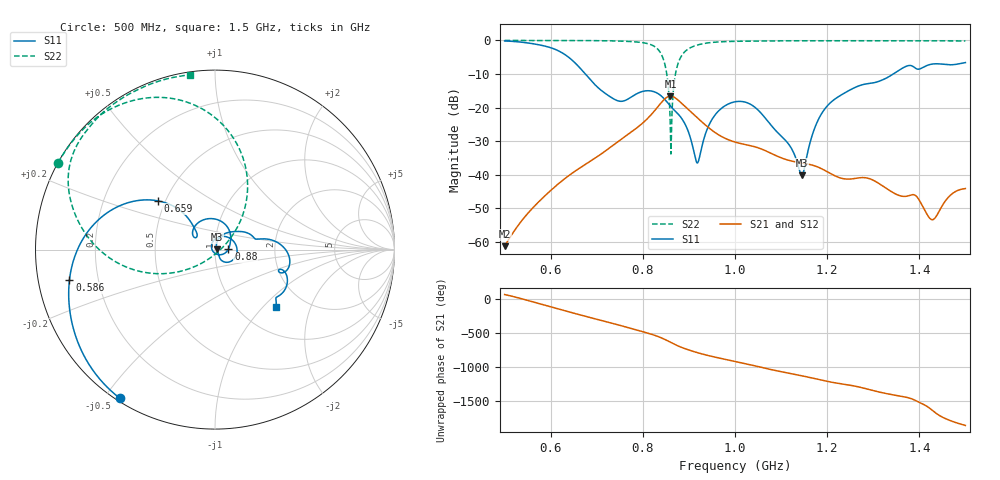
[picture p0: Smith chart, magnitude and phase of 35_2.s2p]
! TOUCHSTONE file generated by CST MICROWAVE STUDIO
! Date and time: Fri Oct  2 16:19:31 2020
! Project name: Scenario_1_Free_Space_out_of_line.cst
! Parameters = {Lambda=346.42; Step_1=17.321; dy1=-241.954; dx1=346; L_HA=400; MT=2.54; Rad_Dielectric=30; Rad_Lower=7.3; Rad_Upper=30; a_HA=580; a_WG=246; b_HA=500; b_WG=121; c_HA=0; c_WG=187; d_feed=85; h_feed=15; h_lower=18; h_upper=40}
! Header version: 2018
! Port assignment regex: !\s*Touchstone port\s*([0-9]+)\s*=\s*(CST MWS port|CST DS port)\s*([0-9]+|Zmin|Zmax)\s*\(\"(.*)\"\)(\s*mode\s*([0-9]+))?.*
! Touchstone port assignment:
! Touchstone port 1 = CST MWS port 1 ("")
! Touchstone port 2 = CST MWS port 2 ("")
# GHz S DB R 50
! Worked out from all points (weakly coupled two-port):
!   1003 points, 500 MHz to 1.5 GHz, reference 50 ohm
!   highest |S21| = -16.60 dB at 860 MHz (marker M1); lowest = -61.3 dB at 500 MHz (marker M2)
!   lowest |S11| = -40.3 dB at 1.145 GHz (marker M3), VSWR 1.02, Z = 51 + j0.225 ohm
!   |S11| at or under -10 dB: 675.1 MHz to 1.343 GHz (668.4 MHz wide, 66.2 % of centre)
!   |S22| runs from -33.9 to 0.0 dB; largest |S21 - S12| = 5.8e-06
!   S11 on the Smith chart (normalised r, x): 500 MHz: 0.01, -0.55; 586 MHz: 0.09, -0.10; 659 MHz: 0.45, +0.30; 880 MHz: 1.16, +0.01; 1.5 GHz: 1.44, -1.19
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0.5  -0.15 -122.6  -61.34 65.8  -61.34 65.8  -0.01 151.2
0.586  -1.64 -168.3  -46.52 -87.8  -46.52 -87.8  -0.02 145.2
0.659  -7.54 139.6  -38.42 136.1  -38.42 136.1  -0.04 139.2
0.667  -8.73 135.7  -37.70 121.6  -37.70 121.6  -0.04 138.4
0.745  -17.97 141.7  -30.26 -16.3  -30.26 -16.3  -0.17 128.5
0.799  -15.22 128.6  -24.71 -117.4  -24.71 -117.4  -0.65 114.5
0.834  -15.94 76.0  -19.54 167.6  -19.54 167.6  -2.84 88.6
0.849  -17.81 50.1  -17.27 123.4  -17.27 123.4  -7.83 63.4
0.86  -19.61 33.7  -16.60 85.3  -16.60 85.3  -27.77 13.3
0.88  -22.49 2.2  -18.22 21.4  -18.22 21.4  -5.60 -170.5
0.918  -36.53 -145.7  -23.04 -65.8  -23.04 -65.8  -1.38 160.8
0.952  -23.14 77.3  -27.00 -125.1  -27.00 -125.1  -0.57 149.8
1  -18.30 5.7  -30.30 166.1  -30.30 166.1  -0.27 140.7
1.055  -21.45 -53.7  -32.25 81.1  -32.25 81.1  -0.18 134.3
1.118  -31.23 -48.4  -35.80 -8.9  -35.80 -8.9  -0.11 128.4
1.145  -40.27 13.2  -36.54 -45.6  -36.54 -45.6  -0.10 126.2
1.167  -28.50 74.9  -37.15 -78.5  -37.15 -78.5  -0.10 124.4
1.214  -17.77 49.2  -40.17 -145.6  -40.17 -145.6  -0.09 120.7
1.334  -10.80 11.9  -44.62 45.9  -44.62 45.9  -0.09 111.7
1.391  -8.21 -19.4  -46.17 -45.8  -46.17 -45.8  -0.10 107.2
1.428  -7.05 -25.3  -53.47 169.4  -53.46 169.3  -0.11 104.2
1.5  -6.61 -43.6  -44.17 -54.2  -44.17 -54.2  -0.14 98.2
